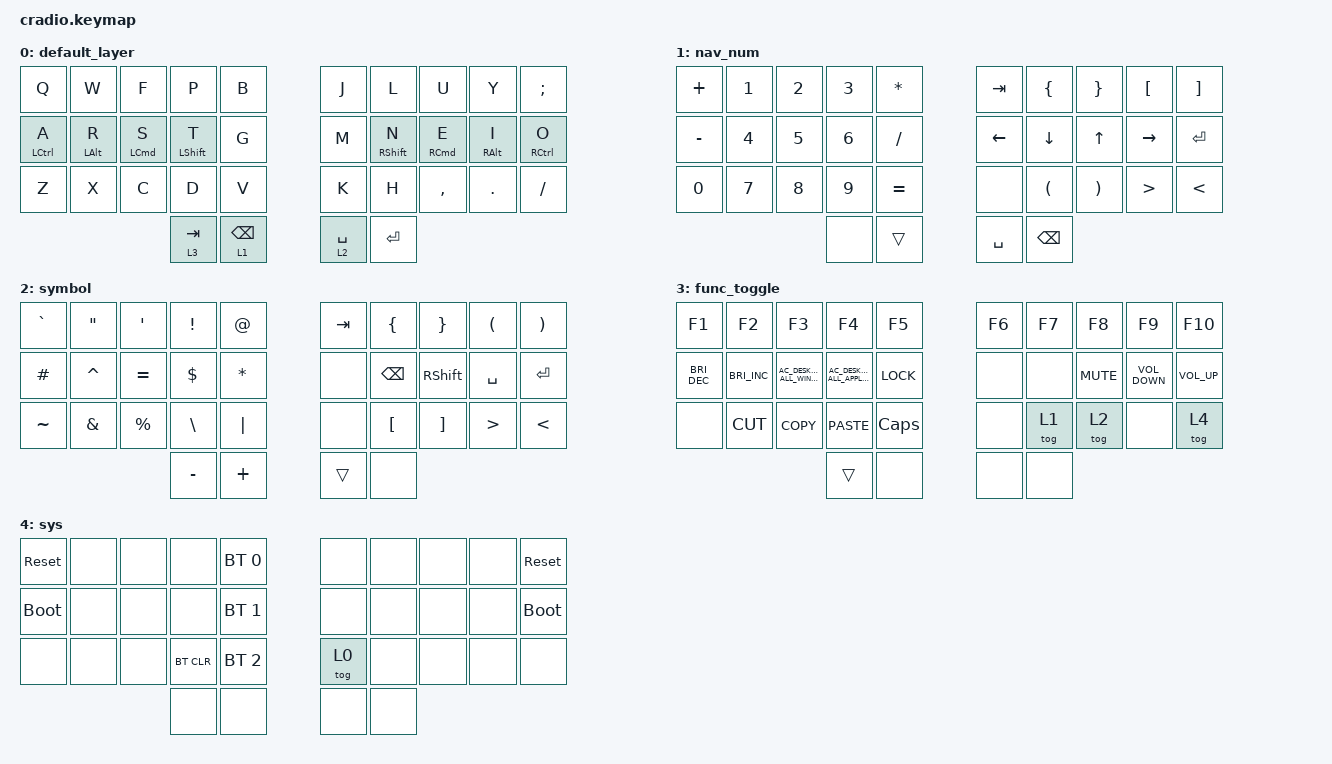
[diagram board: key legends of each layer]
// Copyright (c) 2022 The ZMK Contributors
// SPDX-License-Identifier: MIT

#include <behaviors.dtsi>
#include <dt-bindings/zmk/bt.h>
#include <dt-bindings/zmk/keys.h>

/ {
    behaviors {
        ht: hold_tap {
            compatible = "zmk,behavior-hold-tap";
            #binding-cells = <2>;
            flavor = "tap-preferred";
            tapping-term-ms = <220>;
            quick-tap-ms = <150>;
            require-prior-idle-ms = <100>;
            bindings = <&kp>, <&kp>;
        };
    };

    conditional_layers { compatible = "zmk,conditional-layers"; };

    combos {
        compatible = "zmk,combos";

        escape_chord {
            bindings = <&kp ESCAPE>;
            key-positions = <10 19>;
        };

        minus_chord {
            bindings = <&kp UNDER>;
            key-positions = <3 6>;
        };

        dash_chord {
            bindings = <&kp MINUS>;
            key-positions = <23 26>;
        };

        caps_word_chord {
            bindings = <&caps_word>;
            key-positions = <20 29>;
        };

        sys_esc_chord {
            bindings = <&tog 0>;
            key-positions = <30 31 32 33>;
            layers = <0>;
        };
    };

    keymap {
        compatible = "zmk,keymap";

        default_layer {
            bindings = <
&kp Q               &kp W       &kp F               &kp P             &kp B              &kp J        &kp L              &kp U                &kp Y       &kp SEMI
&ht LEFT_CONTROL A  &ht LALT R  &ht LEFT_COMMAND S  &ht LEFT_SHIFT T  &kp G              &kp M        &ht RIGHT_SHIFT N  &ht RIGHT_COMMAND E  &ht RALT I  &ht RIGHT_CONTROL O
&kp Z               &kp X       &kp C               &kp D             &kp V              &kp K        &kp H              &kp COMMA            &kp DOT     &kp FSLH
                                                    &lt 3 TAB         &lt 1 BACKSPACE    &lt 2 SPACE  &kp ENTER
            >;
        };

        nav_num {
            bindings = <
&kp PLUS   &kp N1  &kp N2  &kp N3  &kp ASTERISK    &kp TAB    &kp LEFT_BRACE        &kp RIGHT_BRACE        &kp LEFT_BRACKET  &kp RIGHT_BRACKET
&kp MINUS  &kp N4  &kp N5  &kp N6  &kp SLASH       &kp LEFT   &kp DOWN              &kp UP                 &kp RIGHT         &kp ENTER
&kp N0     &kp N7  &kp N8  &kp N9  &kp EQUAL       &none      &kp LEFT_PARENTHESIS  &kp RIGHT_PARENTHESIS  &kp GREATER_THAN  &kp LESS_THAN
                           &none   &trans          &kp SPACE  &kp BACKSPACE
            >;
        };

        symbol {
            bindings = <
&kp GRAVE  &kp DOUBLE_QUOTES  &kp SINGLE_QUOTE  &kp EXCL       &kp AT          &kp TAB  &kp LEFT_BRACE    &kp RIGHT_BRACE    &kp LEFT_PARENTHESIS  &kp RIGHT_PARENTHESIS
&kp POUND  &kp CARET          &kp EQUAL         &kp DOLLAR     &kp ASTERISK    &none    &kp BACKSPACE     &kp RIGHT_SHIFT    &kp SPACE             &kp ENTER
&kp TILDE  &kp AMPS           &kp PERCENT       &kp BACKSLASH  &kp PIPE        &none    &kp LEFT_BRACKET  &kp RIGHT_BRACKET  &kp GREATER_THAN      &kp LESS_THAN
                                                &kp MINUS      &kp PLUS        &trans   &none
            >;
        };

        func_toggle {
            bindings = <
&kp F1                &kp F2                &kp F3                             &kp F4                                  &kp F5          &kp F6  &kp F7  &kp F8      &kp F9             &kp F10
&kp C_BRIGHTNESS_DEC  &kp C_BRIGHTNESS_INC  &kp C_AC_DESKTOP_SHOW_ALL_WINDOWS  &kp C_AC_DESKTOP_SHOW_ALL_APPLICATIONS  &kp K_LOCK      &none   &none   &kp C_MUTE  &kp C_VOLUME_DOWN  &kp C_VOLUME_UP
&none                 &kp K_CUT             &kp K_COPY                         &kp K_PASTE                             &kp CAPSLOCK    &none   &tog 1  &tog 2      &none              &tog 4
                                                                               &trans                                  &none           &none   &none
            >;
        };

        sys {
            bindings = <
&sys_reset   &none  &none  &none       &bt BT_SEL 0    &none   &none  &none  &none  &sys_reset
&bootloader  &none  &none  &none       &bt BT_SEL 1    &none   &none  &none  &none  &bootloader
&none        &none  &none  &bt BT_CLR  &bt BT_SEL 2    &tog 0  &none  &none  &none  &none
                           &none       &none           &none   &none
            >;
        };
    };
};
